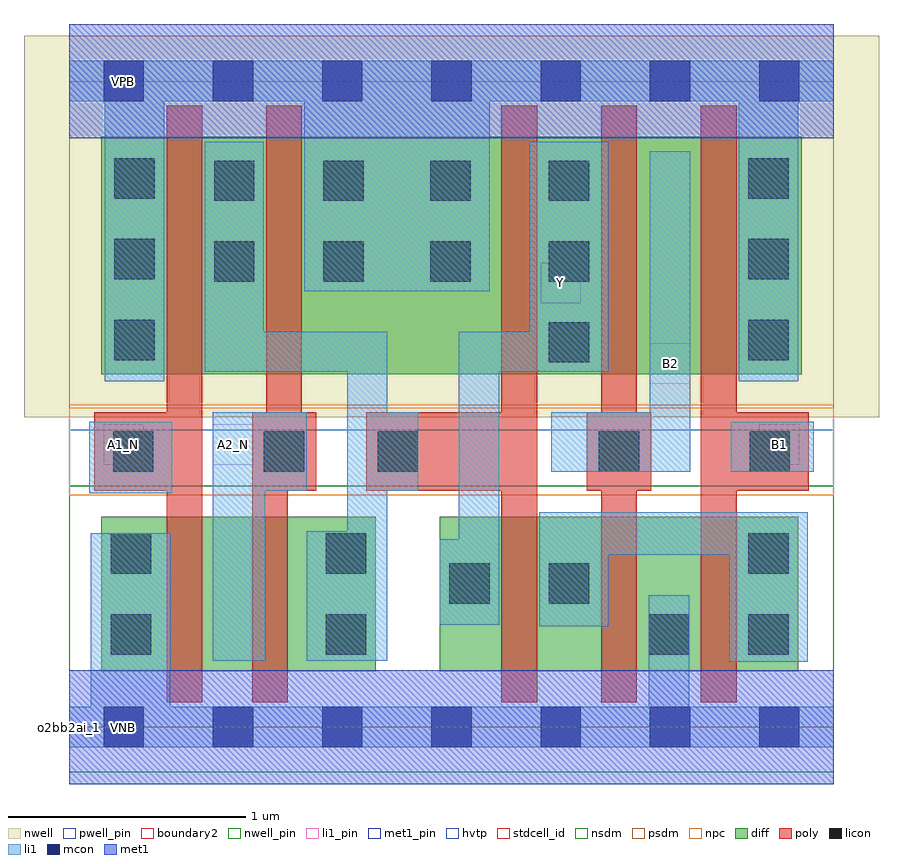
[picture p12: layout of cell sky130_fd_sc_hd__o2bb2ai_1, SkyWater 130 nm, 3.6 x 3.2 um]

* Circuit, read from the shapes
.subckt sky130_fd_sc_hd__o2bb2ai_1 A1_N A2_N B1 B2 VGND VNB VPB VPWR Y
XM1 n1 A1_N VGND VNB sky130_fd_pr__nfet_01v8 w=0.65 l=0.15
XM2 n2 A2_N n1 VNB sky130_fd_pr__nfet_01v8 w=0.65 l=0.15
XM3 n3 n2 Y VNB sky130_fd_pr__nfet_01v8 w=0.65 l=0.15
XM4 VGND B2 n3 VNB sky130_fd_pr__nfet_01v8 w=0.65 l=0.15
XM5 n3 B1 VGND VNB sky130_fd_pr__nfet_01v8 w=0.65 l=0.15
XM6 n2 A1_N VPWR VPB sky130_fd_pr__pfet_01v8_hvt w=1 l=0.15
XM7 VPWR A2_N n2 VPB sky130_fd_pr__pfet_01v8_hvt w=1 l=0.15
XM8 Y n2 VPWR VPB sky130_fd_pr__pfet_01v8_hvt w=1 l=0.15
XM9 n4 B2 Y VPB sky130_fd_pr__pfet_01v8_hvt w=1 l=0.15
XM10 VPWR B1 n4 VPB sky130_fd_pr__pfet_01v8_hvt w=1 l=0.15
.ends

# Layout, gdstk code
import gdstk
lib = gdstk.Library(unit=1e-6, precision=1e-09)
def R(c, l, rs):  # rectangles x0, y0, x1, y1
    for r in rs: c.add(gdstk.rectangle(r[:2], r[2:], *l))
def A(c, l, x, y, w, h, nx, ny, dx, dy):  # array of equal rectangles
    R(c, l, [(x+i*dx, y+j*dy, x+i*dx+w, y+j*dy+h) for i in range(nx) for j in range(ny)])
def P(c, l, *ps):  # polygons
    for p in ps: c.add(gdstk.Polygon(p, *l))
nwell_pin = (64, 16)
nwell = (64, 20)
diff = (65, 20)
poly = (66, 20)
licon = (66, 44)
li1_pin = (67, 16)
li1 = (67, 20)
mcon = (67, 44)
met1_pin = (68, 16)
met1 = (68, 20)
hvtp = (78, 44)
stdcell_id = (81, 4)
nsdm = (93, 44)
psdm = (94, 20)
npc = (95, 20)
pwell_pin = (122, 16)
boundary2 = (236, 0)

sky130_fd_sc_hd__o2bb2ai = lib.new_cell('sky130_fd_sc_hd__o2bb2ai_1')
R(sky130_fd_sc_hd__o2bb2ai, nwell_pin, [(0.145,2.635,0.315,2.805)])
R(sky130_fd_sc_hd__o2bb2ai, nwell, [(-0.19,1.305,3.41,2.91)])
R(sky130_fd_sc_hd__o2bb2ai, diff, [(0.135,0.235,1.29,0.885), (1.56,0.235,3.07,0.885), (0.135,1.485,3.085,2.485)])
P(sky130_fd_sc_hd__o2bb2ai, poly, [(0.56,2.615),(0.41,2.615),(0.41,1.325),(0.105,1.325),(0.105,0.995),(0.41,0.995),(0.41,0.105),(0.56,0.105)],
  [(1.04,1.325),(0.98,1.325),(0.98,2.615),(0.83,2.615),(0.83,1.325),(0.77,1.325),(0.77,0.105),(0.92,0.105),(0.92,0.995),(1.04,0.995)],
  [(1.97,2.615),(1.82,2.615),(1.82,1.325),(1.25,1.325),(1.25,0.995),(1.82,0.995),(1.82,0.105),(1.97,0.105)],
  [(2.45,1.325),(2.39,1.325),(2.39,2.615),(2.24,2.615),(2.24,1.325),(2.18,1.325),(2.18,0.995),(2.24,0.995),(2.24,0.105),(2.39,0.105),(2.39,0.995),(2.45,0.995)],
  [(3.115,1.325),(2.81,1.325),(2.81,2.615),(2.66,2.615),(2.66,0.105),(2.81,0.105),(2.81,0.995),(3.115,0.995)])
A(sky130_fd_sc_hd__o2bb2ai, licon, 2.02, 1.535, 0.17, 0.17, 1, 3, 0, 0.34)
A(sky130_fd_sc_hd__o2bb2ai, licon, 0.19, 1.545, 0.17, 0.17, 1, 3, 0, 0.34)
A(sky130_fd_sc_hd__o2bb2ai, licon, 2.86, 1.545, 0.17, 0.17, 1, 3, 0, 0.34)
R(sky130_fd_sc_hd__o2bb2ai, licon, [(0.175,0.305,0.345,0.475), (1.08,0.305,1.25,0.475), (2.44,0.305,2.61,0.475), (2.86,0.305,3.03,0.475), (1.6,0.52,1.77,0.69), (2.02,0.52,2.19,0.69), (0.175,0.645,0.345,0.815), (1.08,0.645,1.25,0.815), (2.86,0.645,3.03,0.815), (0.185,1.075,0.355,1.245), (0.82,1.075,0.99,1.245), (1.3,1.075,1.47,1.245), (2.23,1.075,2.4,1.245), (2.865,1.075,3.035,1.245), (0.61,1.875,0.78,2.045), (1.07,1.875,1.24,2.045), (1.52,1.875,1.69,2.045), (0.61,2.215,0.78,2.385), (1.07,2.215,1.24,2.385), (1.52,2.215,1.69,2.385)])
R(sky130_fd_sc_hd__o2bb2ai, li1_pin, [(0.145,1.105,0.315,1.275), (0.605,1.105,0.775,1.275), (2.905,1.105,3.075,1.275), (2.445,1.445,2.615,1.615), (1.985,1.785,2.155,1.955)])
R(sky130_fd_sc_hd__o2bb2ai, li1, [(0.085,0.985,0.435,1.285), (2.785,1.075,3.135,1.285)])
P(sky130_fd_sc_hd__o2bb2ai, li1, [(3.22,0.085),(2.61,0.085),(2.61,0.555),(2.44,0.555),(2.44,0.085),(0.425,0.085),(0.425,0.815),(0.09,0.815),(0.09,0.085),(0,0.085),(0,-0.085),(3.22,-0.085)],
  [(3.22,2.805),(0,2.805),(0,2.635),(0.15,2.635),(0.15,1.455),(0.4,1.455),(0.4,2.635),(0.99,2.635),(0.99,1.835),(1.77,1.835),(1.77,2.635),(2.82,2.635),(2.82,1.455),(3.07,1.455),(3.07,2.635),(3.22,2.635)],
  [(0.605,0.28),(0.605,1.325),(1,1.325),(1,0.995),(0.825,0.995),(0.825,0.28)],
  [(1.47,1.325),(1.34,1.325),(1.34,1.665),(0.82,1.665),(0.82,2.465),(0.57,2.465),(0.57,1.495),(1.17,1.495),(1.17,0.825),(1,0.825),(1,0.28),(1.34,0.28),(1.34,0.995),(1.47,0.995)],
  [(2.27,2.465),(1.94,2.465),(1.94,1.665),(1.64,1.665),(1.64,0.79),(1.56,0.79),(1.56,0.43),(1.81,0.43),(1.81,1.495),(2.27,1.495)],
  [(2.615,2.425),(2.445,2.425),(2.445,1.325),(2.03,1.325),(2.03,1.075),(2.615,1.075)],
  [(3.11,0.905),(1.98,0.905),(1.98,0.425),(2.27,0.425),(2.27,0.725),(2.78,0.725),(2.78,0.275),(3.11,0.275)])
A(sky130_fd_sc_hd__o2bb2ai, mcon, 0.145, -0.085, 0.17, 0.17, 7, 2, 0.46, 2.72)
R(sky130_fd_sc_hd__o2bb2ai, met1_pin, [(0.145,-0.085,0.315,0.085), (0.145,2.635,0.315,2.805)])
R(sky130_fd_sc_hd__o2bb2ai, hvtp, [(0,1.25,3.22,2.72)])
R(sky130_fd_sc_hd__o2bb2ai, stdcell_id, [(0,0,3.22,2.72)])
R(sky130_fd_sc_hd__o2bb2ai, nsdm, [(0,-0.19,3.22,1.015)])
R(sky130_fd_sc_hd__o2bb2ai, psdm, [(0,1.355,3.22,2.91)])
R(sky130_fd_sc_hd__o2bb2ai, npc, [(0,0.975,3.22,1.345)])
R(sky130_fd_sc_hd__o2bb2ai, pwell_pin, [(0.145,-0.085,0.315,0.085)])
R(sky130_fd_sc_hd__o2bb2ai, boundary2, [(0,0,3.22,2.72)])
sky130_fd_sc_hd__o2bb2ai.add(gdstk.FlexPath([(0,2.72),(3.22,2.72)], 0.48, ends="flush", simple_path=True, layer=68, datatype=20))  # met1
sky130_fd_sc_hd__o2bb2ai.add(gdstk.FlexPath([(0,0),(3.22,0)], 0.48, ends="flush", simple_path=True, layer=68, datatype=20))  # met1
sky130_fd_sc_hd__o2bb2ai.add(gdstk.Label('Y', (2.07,1.87), layer=67, texttype=5))
sky130_fd_sc_hd__o2bb2ai.add(gdstk.Label('A1_N', (0.23,1.19), layer=67, texttype=5))
sky130_fd_sc_hd__o2bb2ai.add(gdstk.Label('A2_N', (0.69,1.19), layer=67, texttype=5))
sky130_fd_sc_hd__o2bb2ai.add(gdstk.Label('B2', (2.53,1.53), layer=67, texttype=5))
sky130_fd_sc_hd__o2bb2ai.add(gdstk.Label('B1', (2.99,1.19), layer=67, texttype=5))
sky130_fd_sc_hd__o2bb2ai.add(gdstk.Label('VPB', (0.23,2.72), layer=64, texttype=5))
sky130_fd_sc_hd__o2bb2ai.add(gdstk.Label('VNB', (0.23,0), layer=64, texttype=59))
sky130_fd_sc_hd__o2bb2ai.add(gdstk.Label('VGND', (0.23,0), layer=68, texttype=5))
sky130_fd_sc_hd__o2bb2ai.add(gdstk.Label('VPWR', (0.23,2.72), layer=68, texttype=5))
sky130_fd_sc_hd__o2bb2ai.add(gdstk.Label('o2bb2ai_1', (0,0), layer=83, texttype=44))

lib.write_gds('sky130_fd_sc_hd__o2bb2ai_1.gds')
